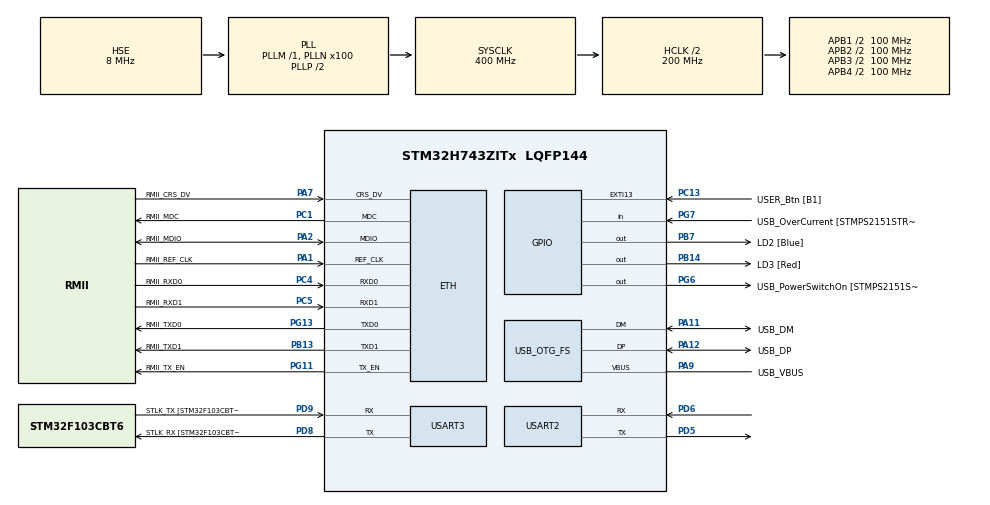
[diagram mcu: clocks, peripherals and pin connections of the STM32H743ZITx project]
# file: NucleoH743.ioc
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CORTEX_M7.CPU_DCache=Enabled
ETH.MediaInterface=HAL_ETH_RMII_MODE
FREERTOS.Tasks01=defaultTask,0,128,StartDefaultTask,Default,NULL,Dynamic,NULL,NULL;cliTask,-2,512,cliEntryTask,Default,NULL,Dynamic,NULL,NULL;SeggerRTT,-3,128,SeggerRTTTask,Default,NULL,Dynamic,NULL,NULL
LWIP.BSP.number=1
LWIP.GATEWAY_ADDRESS=192.169.001.001
LWIP.IP_ADDRESS=192.168.001.150
LWIP.LWIP_DHCP=0
LWIP.NETMASK_ADDRESS=255.255.255.000
LWIP.Version=v2.0.3_Cube
LWIP0.BSP.STBoard=false
LWIP0.BSP.api=BSP_COMPONENT_DRIVER
LWIP0.BSP.component=LAN8742
LWIP0.BSP.i2caddr=0
LWIP0.BSP.instance=LAN8742
LWIP0.BSP.name=Driver_PHY
LWIP0.BSP.solution=LAN8742
Mcu.Family=STM32H7
Mcu.Name=STM32H743ZITx
Mcu.Package=LQFP144
NVIC.OTG_FS_IRQn=true\:5\:0\:false\:false\:true\:true\:false\:true
NVIC.PriorityGroup=NVIC_PRIORITYGROUP_4
NVIC.TIM1_UP_IRQn=true\:0\:0\:false\:false\:true\:false\:false\:true
NVIC.TimeBase=TIM1_UP_IRQn
NVIC.TimeBaseIP=TIM1
NVIC.USART2_IRQn=true\:5\:0\:false\:false\:true\:true\:true\:true
PA1.GPIO_Label=RMII_REF_CLK
PA1.Mode=RMII
PA1.Signal=ETH_REF_CLK
PA10.GPIO_Label=USB_ID
PA10.Signal=USB_OTG_FS_ID
PA11.GPIO_Label=USB_DM
PA11.Mode=Device_Only
PA11.Signal=USB_OTG_FS_DM
PA12.GPIO_Label=USB_DP
PA12.Mode=Device_Only
PA12.Signal=USB_OTG_FS_DP
PA2.GPIO_Label=RMII_MDIO
PA2.Mode=RMII
PA2.Signal=ETH_MDIO
PA7.GPIO_Label=RMII_CRS_DV
PA7.Mode=RMII
PA7.Signal=ETH_CRS_DV
PA8.GPIO_Label=USB_SOF [TP1]
PA8.Signal=USB_OTG_FS_SOF
PA9.GPIO_Label=USB_VBUS
PA9.Mode=Activate_VBUS
PA9.Signal=USB_OTG_FS_VBUS
PB13.GPIO_Label=RMII_TXD1
PB13.Mode=RMII
PB13.Signal=ETH_TXD1
PB14.GPIO_Label=LD3 [Red]
PB14.Signal=GPIO_Output
PB7.GPIO_Label=LD2 [Blue]
PB7.Signal=GPIO_Output
PC1.GPIO_Label=RMII_MDC
PC1.Mode=RMII
PC1.Signal=ETH_MDC
PC13.GPIO_Label=USER_Btn [B1]
PC13.Signal=GPXTI13
PC14-OSC32_IN\ (OSC32_IN).Mode=LSE-External-Oscillator
PC14-OSC32_IN\ (OSC32_IN).Signal=RCC_OSC32_IN
PC15-OSC32_OUT\ (OSC32_OUT).Mode=LSE-External-Oscillator
PC15-OSC32_OUT\ (OSC32_OUT).Signal=RCC_OSC32_OUT
PC4.GPIO_Label=RMII_RXD0
PC4.Mode=RMII
PC4.Signal=ETH_RXD0
PC5.GPIO_Label=RMII_RXD1
PC5.Mode=RMII
PC5.Signal=ETH_RXD1
PD5.Mode=Asynchronous
PD5.Signal=USART2_TX
PD6.Mode=Asynchronous
PD6.Signal=USART2_RX
PD8.GPIO_Label=STLK_RX [STM32F103CBT6_PA3]
PD8.Mode=Asynchronous
PD8.Signal=USART3_TX
PD9.GPIO_Label=STLK_TX [STM32F103CBT6_PA2]
PD9.Mode=Asynchronous
PD9.Signal=USART3_RX
PG11.GPIO_Label=RMII_TX_EN
PG11.Mode=RMII
PG11.Signal=ETH_TX_EN
PG13.GPIO_Label=RMII_TXD0
PG13.Mode=RMII
PG13.Signal=ETH_TXD0
PG6.GPIO_Label=USB_PowerSwitchOn [STMPS2151STR_EN]
PG6.Signal=GPIO_Output
PG7.GPIO_Label=USB_OverCurrent [STMPS2151STR_FAULT]
PG7.Signal=GPIO_Input
PH0-OSC_IN\ (PH0).GPIO_Label=MCO
PH0-OSC_IN\ (PH0).Mode=HSE-External-Clock-Source
PH0-OSC_IN\ (PH0).Signal=RCC_OSC_IN
PH1-OSC_OUT\ (PH1).Mode=HSE-External-Clock-Source
PH1-OSC_OUT\ (PH1).Signal=RCC_OSC_OUT
ProjectManager.HeapSize=0x200
ProjectManager.StackSize=0x400
ProjectManager.TargetToolchain=TrueSTUDIO
RCC.48MHZClocksFreq_Value=24000000
RCC.ADCFreq_Value=16125000
RCC.AHBFreq_Value=216000000
RCC.APB1CLKDivider=RCC_HCLK_DIV4
RCC.APB1Freq_Value=100000000
RCC.APB1TimFreq_Value=108000000
RCC.APB2CLKDivider=RCC_HCLK_DIV2
RCC.APB2Freq_Value=100000000
RCC.APB2TimFreq_Value=216000000
RCC.APB3Freq_Value=100000000
RCC.APB4Freq_Value=100000000
RCC.CortexFreq_Value=400000000
RCC.D1PPRE=RCC_APB3_DIV2
RCC.D2PPRE1=RCC_APB1_DIV2
RCC.D2PPRE2=RCC_APB2_DIV2
RCC.D3PPRE=RCC_APB4_DIV2
RCC.DIVM1=1
RCC.DIVN1=100
RCC.DIVQ1=4
RCC.HCLKFreq_Value=200000000
RCC.HPRE=RCC_HCLK_DIV2
RCC.HSE_VALUE=8000000
RCC.HSI_VALUE=64000000
RCC.PLLM=25
RCC.PLLMUL=RCC_PLL_MUL9
RCC.PLLN=432
RCC.PLLQ=9
RCC.PLLSourceVirtual=RCC_PLLSOURCE_HSE
RCC.PRESCALERUSB=RCC_USBCLKSOURCE_PLL_DIV1_5
RCC.PWR_Regulator_Voltage_Scale=PWR_REGULATOR_VOLTAGE_SCALE1
RCC.SYSCLKFreq_VALUE=400000000
RCC.SYSCLKSource=RCC_SYSCLKSOURCE_PLLCLK
RCC.SYSCLKSourceVirtual=RCC_SYSCLKSOURCE_PLLCLK
RCC.USBCLockSelection=RCC_USBCLKSOURCE_HSI48
RCC.USBFreq_Value=48000000
RCC.VCOOutputFreq_Value=432000000
USART2.VirtualMode-Asynchronous=VM_ASYNC
USART3.VirtualMode-Asynchronous=VM_ASYNC
USB_DEVICE.CLASS_NAME_FS=CDC
USB_DEVICE.VirtualMode-CDC_FS=Cdc
USB_DEVICE.VirtualModeFS=Cdc_FS
USB_OTG_FS.VirtualMode=Device_Only
VP_FREERTOS_VS_CMSIS_V1.Mode=CMSIS_V1
VP_LWIP_VS_Enabled.Mode=Enabled
VP_MBEDTLS_VS_MBEDTLS.Mode=Enabled
VP_SYS_VS_tim1.Mode=TIM1
VP_USB_DEVICE_VS_USB_DEVICE_CDC_FS.Mode=CDC_FS
board=NUCLEO-H743ZI

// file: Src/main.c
/* USER CODE BEGIN Header */
/**
  ******************************************************************************
  * @file           : main.c
  * @brief          : Main program body
  ******************************************************************************
  * @attention
  *
  * <h2><center>&copy; Copyright (c) 2019 STMicroelectronics.
  * All rights reserved.</center></h2>
  *
  * This software component is licensed by ST under BSD 3-Clause license,
  * the "License"; You may not use this file except in compliance with the
  * License. You may obtain a copy of the License at:
  *                        opensource.org/licenses/BSD-3-Clause
  *
  ******************************************************************************
  */
/* USER CODE END Header */

#include "main.h"
#include "cmsis_os.h"
#include "mbedtls.h"
#include "usb_device.h"

/* USER CODE BEGIN Includes */
#include "RTT/SEGGER_RTT.h"
#include "CLI/debugCLI.h"
#include "usbd_cdc_if.h"
#include "lwip.h"

/* USER CODE END Includes */

UART_HandleTypeDef huart2;
UART_HandleTypeDef huart3;

osThreadId defaultTaskHandle;
osThreadId cliTaskHandle;
osThreadId SeggerRTTHandle;
/* USER CODE BEGIN PV */
#define DEBUG_PORT (&huart2)

uint8_t aTxStartMessage[] = "\r\n****UART-Hyperterminal communication based on IT ****\r\nEnter 10 characters using keyboard :\r\n";

/* Buffer used for reception */
uint8_t aRxBuffer[20];
/* USER CODE END PV */

void SystemClock_Config(void);
static void MX_GPIO_Init(void);
static void MX_USART3_UART_Init(void);
static void MX_USART2_UART_Init(void);
void StartDefaultTask(void const * argument);
void cliEntryTask(void const * argument);
void SeggerRTTTask(void const * argument);

/* USER CODE BEGIN 0 */
#ifdef __GNUC__
  /* With GCC/RAISONANCE, small printf (option LD Linker->Libraries->Small printf
     set to 'Yes') calls __io_putchar() */
  #define PUTCHAR_PROTOTYPE int __io_putchar(int ch)
#else
  #define PUTCHAR_PROTOTYPE int fputc(int ch, FILE *f)
#endif /* __GNUC__ */
/**
  * @brief  Retargets the C library printf function to the USART.
  * @param  None
  * @retval None
  */
PUTCHAR_PROTOTYPE
{
  /* Place your implementation of fputc here */
  /* e.g. write a character to the EVAL_COM1 and Loop until the end of transmission */
  HAL_UART_Transmit(DEBUG_PORT, (uint8_t *)&ch, 1, 0xFFFF);

  return ch;
}
/* USER CODE END 0 */

int main(void)
{

  /* Enable D-Cache---------------------------------------------------------*/
  SCB_EnableDCache();

  /* MCU Configuration--------------------------------------------------------*/

  /* Reset of all peripherals, Initializes the Flash interface and the Systick. */
  HAL_Init();

  /* Configure the system clock */
  SystemClock_Config();

  /* Initialize all configured peripherals */
  MX_GPIO_Init();
  MX_USART3_UART_Init();
  MX_USART2_UART_Init();

  /* Create the thread(s) */
  /* definition and creation of defaultTask */
  osThreadDef(defaultTask, StartDefaultTask, osPriorityNormal, 0, 128);
  defaultTaskHandle = osThreadCreate(osThread(defaultTask), NULL);

  /* definition and creation of cliTask */
  osThreadDef(cliTask, cliEntryTask, osPriorityLow, 0, 512);
  cliTaskHandle = osThreadCreate(osThread(cliTask), NULL);

  /* definition and creation of SeggerRTT */
  osThreadDef(SeggerRTT, SeggerRTTTask, osPriorityIdle, 0, 128);
  SeggerRTTHandle = osThreadCreate(osThread(SeggerRTT), NULL);

  /* Start scheduler */
  osKernelStart();

  /* We should never get here as control is now taken by the scheduler */

  /* Infinite loop */
  while (1)
  {

  }
}

void SystemClock_Config(void)
{
  RCC_OscInitTypeDef RCC_OscInitStruct = {0};
  RCC_ClkInitTypeDef RCC_ClkInitStruct = {0};
  RCC_PeriphCLKInitTypeDef PeriphClkInitStruct = {0};

  /** Supply configuration update enable
  */
  HAL_PWREx_ConfigSupply(PWR_LDO_SUPPLY);
  /** Configure the main internal regulator output voltage
  */
  __HAL_PWR_VOLTAGESCALING_CONFIG(PWR_REGULATOR_VOLTAGE_SCALE1);

  while(!__HAL_PWR_GET_FLAG(PWR_FLAG_VOSRDY)) {}
  /** Initializes the CPU, AHB and APB busses clocks
  */
  RCC_OscInitStruct.OscillatorType = RCC_OSCILLATORTYPE_HSI48|RCC_OSCILLATORTYPE_HSE;
  RCC_OscInitStruct.HSEState = RCC_HSE_BYPASS;
  RCC_OscInitStruct.HSI48State = RCC_HSI48_ON;
  RCC_OscInitStruct.PLL.PLLState = RCC_PLL_ON;
  RCC_OscInitStruct.PLL.PLLSource = RCC_PLLSOURCE_HSE;
  RCC_OscInitStruct.PLL.PLLM = 1;
  RCC_OscInitStruct.PLL.PLLN = 100;
  RCC_OscInitStruct.PLL.PLLP = 2;
  RCC_OscInitStruct.PLL.PLLQ = 4;
  RCC_OscInitStruct.PLL.PLLR = 2;
  RCC_OscInitStruct.PLL.PLLRGE = RCC_PLL1VCIRANGE_3;
  RCC_OscInitStruct.PLL.PLLVCOSEL = RCC_PLL1VCOWIDE;
  RCC_OscInitStruct.PLL.PLLFRACN = 0;
  if (HAL_RCC_OscConfig(&RCC_OscInitStruct) != HAL_OK)
  {
    Error_Handler();
  }
  /** Initializes the CPU, AHB and APB busses clocks
  */
  RCC_ClkInitStruct.ClockType = RCC_CLOCKTYPE_HCLK|RCC_CLOCKTYPE_SYSCLK
                              |RCC_CLOCKTYPE_PCLK1|RCC_CLOCKTYPE_PCLK2
                              |RCC_CLOCKTYPE_D3PCLK1|RCC_CLOCKTYPE_D1PCLK1;
  RCC_ClkInitStruct.SYSCLKSource = RCC_SYSCLKSOURCE_PLLCLK;
  RCC_ClkInitStruct.SYSCLKDivider = RCC_SYSCLK_DIV1;
  RCC_ClkInitStruct.AHBCLKDivider = RCC_HCLK_DIV2;
  RCC_ClkInitStruct.APB3CLKDivider = RCC_APB3_DIV2;
  RCC_ClkInitStruct.APB1CLKDivider = RCC_APB1_DIV2;
  RCC_ClkInitStruct.APB2CLKDivider = RCC_APB2_DIV2;
  RCC_ClkInitStruct.APB4CLKDivider = RCC_APB4_DIV2;

  if (HAL_RCC_ClockConfig(&RCC_ClkInitStruct, FLASH_LATENCY_2) != HAL_OK)
  {
    Error_Handler();
  }
  PeriphClkInitStruct.PeriphClockSelection = RCC_PERIPHCLK_USART3|RCC_PERIPHCLK_USART2
                              |RCC_PERIPHCLK_USB;
  PeriphClkInitStruct.Usart234578ClockSelection = RCC_USART234578CLKSOURCE_D2PCLK1;
  PeriphClkInitStruct.UsbClockSelection = RCC_USBCLKSOURCE_HSI48;
  if (HAL_RCCEx_PeriphCLKConfig(&PeriphClkInitStruct) != HAL_OK)
  {
    Error_Handler();
  }
  /** Enable USB Voltage detector
  */
  HAL_PWREx_EnableUSBVoltageDetector();
}

static void MX_USART2_UART_Init(void)
{

  huart2.Instance = USART2;
  huart2.Init.BaudRate = 115200;
  huart2.Init.WordLength = UART_WORDLENGTH_8B;
  huart2.Init.StopBits = UART_STOPBITS_1;
  huart2.Init.Parity = UART_PARITY_NONE;
  huart2.Init.Mode = UART_MODE_TX_RX;
  huart2.Init.HwFlowCtl = UART_HWCONTROL_NONE;
  huart2.Init.OverSampling = UART_OVERSAMPLING_16;
  huart2.Init.OneBitSampling = UART_ONE_BIT_SAMPLE_DISABLE;
  huart2.Init.ClockPrescaler = UART_PRESCALER_DIV1;
  huart2.AdvancedInit.AdvFeatureInit = UART_ADVFEATURE_NO_INIT;
  if (HAL_UART_Init(&huart2) != HAL_OK)
  {
    Error_Handler();
  }
  if (HAL_UARTEx_SetTxFifoThreshold(&huart2, UART_TXFIFO_THRESHOLD_1_8) != HAL_OK)
  {
    Error_Handler();
  }
  if (HAL_UARTEx_SetRxFifoThreshold(&huart2, UART_RXFIFO_THRESHOLD_1_8) != HAL_OK)
  {
    Error_Handler();
  }
  if (HAL_UARTEx_DisableFifoMode(&huart2) != HAL_OK)
  {
    Error_Handler();
  }

}

static void MX_USART3_UART_Init(void)
{

  huart3.Instance = USART3;
  huart3.Init.BaudRate = 115200;
  huart3.Init.WordLength = UART_WORDLENGTH_8B;
  huart3.Init.StopBits = UART_STOPBITS_1;
  huart3.Init.Parity = UART_PARITY_NONE;
  huart3.Init.Mode = UART_MODE_TX_RX;
  huart3.Init.HwFlowCtl = UART_HWCONTROL_NONE;
  huart3.Init.OverSampling = UART_OVERSAMPLING_16;
  huart3.Init.OneBitSampling = UART_ONE_BIT_SAMPLE_DISABLE;
  huart3.Init.ClockPrescaler = UART_PRESCALER_DIV1;
  huart3.AdvancedInit.AdvFeatureInit = UART_ADVFEATURE_NO_INIT;
  if (HAL_UART_Init(&huart3) != HAL_OK)
  {
    Error_Handler();
  }
  if (HAL_UARTEx_SetTxFifoThreshold(&huart3, UART_TXFIFO_THRESHOLD_1_8) != HAL_OK)
  {
    Error_Handler();
  }
  if (HAL_UARTEx_SetRxFifoThreshold(&huart3, UART_RXFIFO_THRESHOLD_1_8) != HAL_OK)
  {
    Error_Handler();
  }
  if (HAL_UARTEx_DisableFifoMode(&huart3) != HAL_OK)
  {
    Error_Handler();
  }

}

static void MX_GPIO_Init(void)
{
  GPIO_InitTypeDef GPIO_InitStruct = {0};

  /* GPIO Ports Clock Enable */
  __HAL_RCC_GPIOC_CLK_ENABLE();
  __HAL_RCC_GPIOH_CLK_ENABLE();
  __HAL_RCC_GPIOA_CLK_ENABLE();
  __HAL_RCC_GPIOB_CLK_ENABLE();
  __HAL_RCC_GPIOD_CLK_ENABLE();
  __HAL_RCC_GPIOG_CLK_ENABLE();

  /*Configure GPIO pin Output Level */
  HAL_GPIO_WritePin(GPIOB, LD3_Pin|LD2_Pin, GPIO_PIN_RESET);

  /*Configure GPIO pin Output Level */
  HAL_GPIO_WritePin(USB_PowerSwitchOn_GPIO_Port, USB_PowerSwitchOn_Pin, GPIO_PIN_RESET);

  /*Configure GPIO pin : USER_Btn_Pin */
  GPIO_InitStruct.Pin = USER_Btn_Pin;
  GPIO_InitStruct.Mode = GPIO_MODE_IT_RISING;
  GPIO_InitStruct.Pull = GPIO_NOPULL;
  HAL_GPIO_Init(USER_Btn_GPIO_Port, &GPIO_InitStruct);

  /*Configure GPIO pins : LD3_Pin LD2_Pin */
  GPIO_InitStruct.Pin = LD3_Pin|LD2_Pin;
  GPIO_InitStruct.Mode = GPIO_MODE_OUTPUT_PP;
  GPIO_InitStruct.Pull = GPIO_NOPULL;
  GPIO_InitStruct.Speed = GPIO_SPEED_FREQ_LOW;
  HAL_GPIO_Init(GPIOB, &GPIO_InitStruct);

  /*Configure GPIO pin : USB_PowerSwitchOn_Pin */
  GPIO_InitStruct.Pin = USB_PowerSwitchOn_Pin;
  GPIO_InitStruct.Mode = GPIO_MODE_OUTPUT_PP;
  GPIO_InitStruct.Pull = GPIO_NOPULL;
  GPIO_InitStruct.Speed = GPIO_SPEED_FREQ_LOW;
  HAL_GPIO_Init(USB_PowerSwitchOn_GPIO_Port, &GPIO_InitStruct);

  /*Configure GPIO pin : USB_OverCurrent_Pin */
  GPIO_InitStruct.Pin = USB_OverCurrent_Pin;
  GPIO_InitStruct.Mode = GPIO_MODE_INPUT;
  GPIO_InitStruct.Pull = GPIO_NOPULL;
  HAL_GPIO_Init(USB_OverCurrent_GPIO_Port, &GPIO_InitStruct);

}

/* USER CODE BEGIN 4 */
/**
  * @brief Rx Transfer completed callbacks
  * @param huart: uart handle
  * @retval None
  */
void HAL_UART_RxCpltCallback(UART_HandleTypeDef *huart)
{
  /* Prevent unused argument(s) compilation warning */
  UNUSED(huart);

  /* NOTE : This function should not be modified, when the callback is needed,
            the HAL_UART_RxCpltCallback can be implemented in the user file
   */
//    HAL_UART_Transmit(DEBUG_PORT, (uint8_t *)aRxBuffer, 1,0xFFFF);

    if(huart == DEBUG_PORT)
    {
    	HAL_UART_Transmit(DEBUG_PORT, (uint8_t *)aRxBuffer, 1,0xFFFF);
    	HAL_UART_Receive_IT(DEBUG_PORT, (uint8_t *)aRxBuffer, 1);
    	CDC_Transmit_FS(aRxBuffer,1);
    }
}
/* USER CODE END 4 */

void StartDefaultTask(void const * argument)
{
  /* init code for USB_DEVICE */
  MX_USB_DEVICE_Init();

  /* MX_LWIP_Init() is generated within mbedtls_net_init() function in net_cockets.c file */
  /* Up to user to call mbedtls_net_init() function in MBEDTLS initialization step */

  /* Up to user define the empty MX_MBEDTLS_Init() function located in mbedtls.c file */
  MX_MBEDTLS_Init();

  /* USER CODE BEGIN 5 */
  MX_LWIP_Init();
	  /* Create tcp_ip stack thread */
//	  tcpip_init(NULL, NULL);
//
//	  /* Initialize the LwIP stack */
//	  Netif_Config();
//
//	  /* Initialize webserver demo */
//	  http_server_netconn_init();

  /* Infinite loop */
  for(;;)
  {
	  osDelay(100);
  }
  /* USER CODE END 5 */
}

void cliEntryTask(void const * argument)
{
  /* USER CODE BEGIN cliEntryTask */

	HAL_UART_Transmit_IT(DEBUG_PORT, (uint8_t *)aTxStartMessage, sizeof(aTxStartMessage));
	HAL_UART_Receive_IT(DEBUG_PORT, (uint8_t *)aRxBuffer, 1);

  /* Infinite loop */
  for(;;)
  {
    osDelay(1);
  }
  /* USER CODE END cliEntryTask */
}

void SeggerRTTTask(void const * argument)
{
  /* USER CODE BEGIN SeggerRTTTask */
	short int cnt=0;
	char msg[64];
	int len;
	SEGGER_RTT_Init();

  /* Infinite loop */
  for(;;)
  {
	  len = sprintf(msg,"RTT Task %d\r\n",cnt++);
	  SEGGER_RTT_Write(0, msg, len);
	  osDelay(100);
  }
  /* USER CODE END SeggerRTTTask */
}

void HAL_TIM_PeriodElapsedCallback(TIM_HandleTypeDef *htim)
{
  if (htim->Instance == TIM1) {
    HAL_IncTick();
  }
}

void Error_Handler(void)
{
}

/************************ (C) COPYRIGHT STMicroelectronics *****END OF FILE****/
